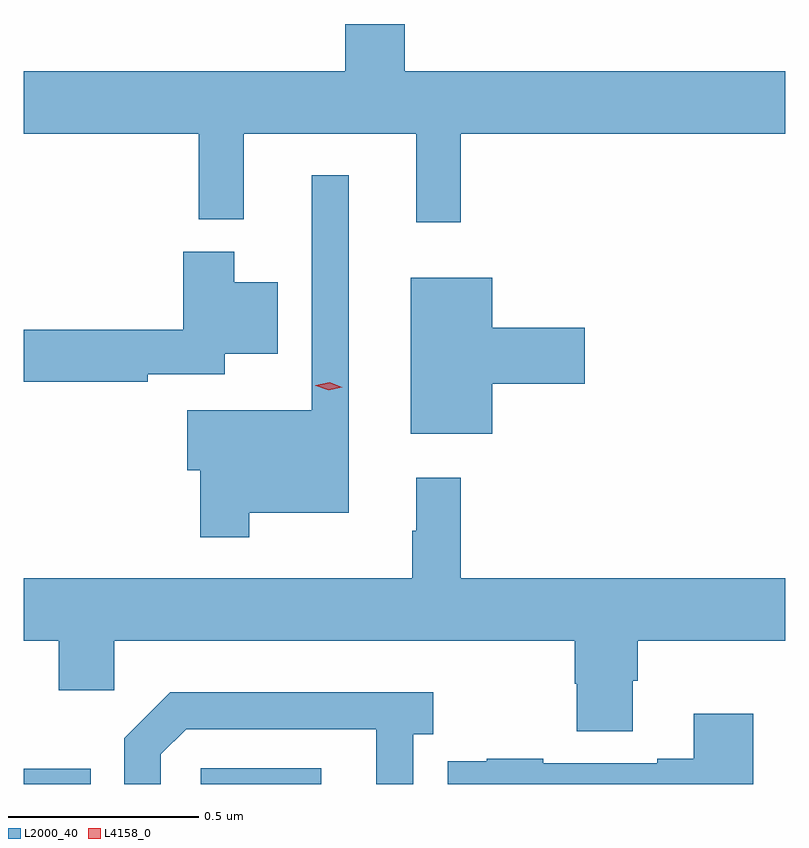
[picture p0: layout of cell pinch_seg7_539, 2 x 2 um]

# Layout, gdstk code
import gdstk
lib = gdstk.Library(unit=1e-6, precision=1e-09)
def R(c, l, rs):  # rectangles x0, y0, x1, y1
    for r in rs: c.add(gdstk.rectangle(r[:2], r[2:], *l))
def P(c, l, *ps):  # polygons
    for p in ps: c.add(gdstk.Polygon(p, *l))
L2000_40 = (2000, 40)
L4158_0 = (4158, 0)

pinch_seg7_539 = lib.new_cell('pinch_seg7_539')
R(pinch_seg7_539, L2000_40, [(142.503,1060.179,142.678,1060.219), (142.968,1060.179,143.284,1060.221)])
P(pinch_seg7_539, L2000_40, [(143.651,1061.888),(144.503,1061.888),(144.503,1062.052),(143.504,1062.052),(143.504,1062.176),(143.347,1062.176),(143.347,1062.052),(142.503,1062.052),(142.503,1061.888),(142.963,1061.888),(142.963,1061.663),(143.081,1061.663),(143.081,1061.888),(143.534,1061.888),(143.534,1061.655),(143.651,1061.655)],
  [(143.095,1060.892),(143.356,1060.892),(143.356,1061.779),(143.259,1061.779),(143.259,1061.161),(142.932,1061.161),(142.932,1061.003),(142.966,1061.003),(142.966,1060.827),(143.095,1060.827)],
  [(142.828,1061.256),(143.031,1061.256),(143.031,1061.309),(143.17,1061.309),(143.17,1061.497),(143.056,1061.497),(143.056,1061.578),(142.922,1061.578),(142.922,1061.372),(142.503,1061.372),(142.503,1061.236),(142.828,1061.236)],
  [(143.734,1061.231),(143.977,1061.231),(143.977,1061.378),(143.734,1061.378),(143.734,1061.509),(143.519,1061.509),(143.519,1061.099),(143.734,1061.099)],
  [(144.103,1060.45),(144.116,1060.45),(144.116,1060.556),(144.503,1060.556),(144.503,1060.72),(143.651,1060.72),(143.651,1060.984),(143.534,1060.984),(143.534,1060.844),(143.523,1060.844),(143.523,1060.72),(142.503,1060.72),(142.503,1060.556),(142.594,1060.556),(142.594,1060.425),(142.74,1060.425),(142.74,1060.556),(143.951,1060.556),(143.951,1060.443),(143.956,1060.443),(143.956,1060.318),(144.103,1060.318)],
  [(142.863,1060.257),(142.929,1060.323),(143.429,1060.323),(143.429,1060.179),(143.526,1060.179),(143.526,1060.31),(143.578,1060.31),(143.578,1060.42),(142.888,1060.42),(142.767,1060.299),(142.767,1060.179),(142.863,1060.179)],
  [(144.419,1060.363),(144.263,1060.363),(144.263,1060.246),(144.167,1060.246),(144.167,1060.233),(143.867,1060.233),(143.867,1060.246),(143.719,1060.246),(143.719,1060.239),(143.617,1060.239),(143.617,1060.179),(144.419,1060.179)])
P(pinch_seg7_539, L4158_0, [(143.304,1061.214),(143.27,1061.226),(143.269,1061.226),(143.27,1061.227),(143.306,1061.234),(143.34,1061.222),(143.34,1061.221),(143.34,1061.221)])

lib.write_gds('pinch_seg7_539.gds')
